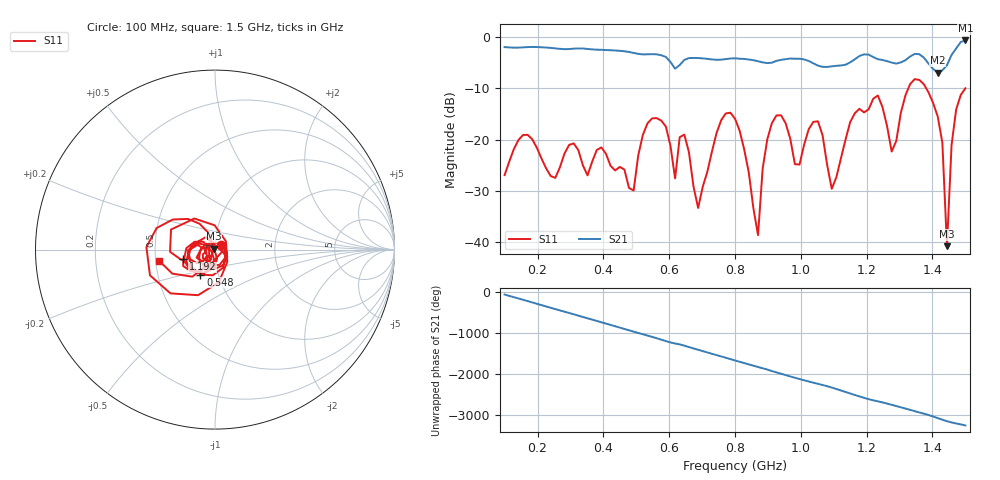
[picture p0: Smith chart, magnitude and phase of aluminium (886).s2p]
! NanoVNA-App
! Date: 2025-09-25 15:02:11
! Start: 100MHz Stop: 1,5GHz Points: 101
! S-Parameter data: F S11 S21 S12 S22
# Hz S RI R 50
!  Frequency  S11_Real  S11_Imag  S21_Real  S21_Imag  S12_Real  S12_Imag  S22_Real  S22_Imag
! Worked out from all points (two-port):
!   101 points, 100 MHz to 1.5 GHz, reference 50 ohm
!   highest |S21| = -0.63 dB at 1.5 GHz (marker M1); lowest = -6.9 dB at 1.416 GHz (marker M2)
!   |S21| within 3 dB of the highest: start of sweep to 580.5 MHz; 1.457 GHz to end of sweep (the widest 2 of 4)
!   lowest |S11| = -40.9 dB at 1.444 GHz (marker M3), VSWR 1.02, Z = 49.2 + j0.454 ohm
!   |S11| at or under -10 dB: start of sweep to 1.327 GHz; 1.381 GHz to 1.5 GHz (118.7 MHz wide, 8.24 % of centre)
!   S12 and S22 are empty: the file has one direction only
!   S11 on the Smith chart (normalised r, x): 100 MHz: 1.07, +0.06; 548 MHz: 0.82, -0.23; 1.192 GHz: 0.70, -0.08; 1.5 GHz: 0.52, -0.07
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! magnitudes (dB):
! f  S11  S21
! 100 MHz  -27.0  -1.9
! 338 MHz  -25.1  -2.2
! 492 MHz  -30.0  -3.1
! 548 MHz  -15.9  -3.3
! 576 MHz  -16.3  -3.5
! 618 MHz  -27.6  -6.1
! 646 MHz  -19.0  -4.4
! 688 MHz  -33.4  -4.1
! 800 MHz  -15.9  -4.1
! 870 MHz  -38.7  -4.7
! 912 MHz  -16.8  -5.0
! 996 MHz  -24.9  -4.2
! 1.038 GHz  -16.5  -5.1
! 1.094 GHz  -29.6  -5.7
! 1.192 GHz  -14.7  -3.4
! 1.276 GHz  -22.3  -4.9
! 1.346 GHz  -8.2  -3.3
! 1.416 GHz  -15.5  -6.9
! 1.43 GHz  -20.6  -6.5
! 1.444 GHz  -40.9  -5.5
! 1.458 GHz  -21.1  -3.5
! 1.5 GHz  -10.0  -0.6
